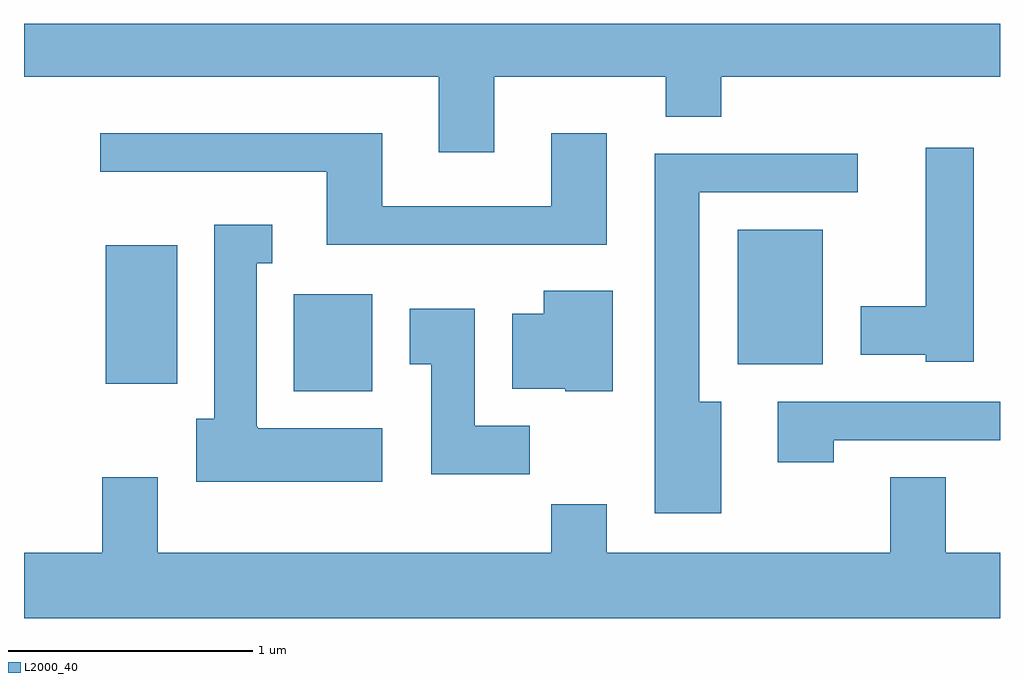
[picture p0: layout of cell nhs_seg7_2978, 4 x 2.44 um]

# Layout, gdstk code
import gdstk
lib = gdstk.Library(unit=1e-6, precision=1e-09)
def R(c, l, rs):  # rectangles x0, y0, x1, y1
    for r in rs: c.add(gdstk.rectangle(r[:2], r[2:], *l))
def P(c, l, *ps):  # polygons
    for p in ps: c.add(gdstk.Polygon(p, *l))
L2000_40 = (2000, 40)

nhs_seg7_2978 = lib.new_cell('nhs_seg7_2978')
R(nhs_seg7_2978, L2000_40, [(276.716,1770.746,277.039,1771.144), (275.946,1770.776,276.239,1771.344), (278.536,1770.856,278.884,1771.409)])
P(nhs_seg7_2978, L2000_40, [(277.539,1772.036),(278.241,1772.036),(278.241,1771.871),(278.469,1771.871),(278.469,1772.036),(279.611,1772.036),(279.611,1772.252),(275.611,1772.252),(275.611,1772.036),(277.311,1772.036),(277.311,1771.726),(277.539,1771.726)],
  [(277.999,1771.804),(277.771,1771.804),(277.771,1771.504),(277.079,1771.504),(277.079,1771.804),(275.923,1771.804),(275.923,1771.646),(276.851,1771.646),(276.851,1771.346),(277.999,1771.346)],
  [(279.504,1771.744),(279.306,1771.744),(279.306,1771.094),(279.041,1771.094),(279.041,1770.896),(279.306,1770.896),(279.306,1770.866),(279.504,1770.866)],
  [(278.469,1770.704),(278.379,1770.704),(278.379,1771.561),(279.028,1771.561),(279.028,1771.719),(278.196,1771.719),(278.196,1770.246),(278.469,1770.246)],
  [(277.079,1770.594),(276.57,1770.594),(276.57,1770.6),(276.564,1770.6),(276.564,1771.271),(276.628,1771.271),(276.628,1771.429),(276.391,1771.429),(276.391,1770.634),(276.316,1770.634),(276.316,1770.376),(277.079,1770.376)],
  [(278.024,1771.159),(277.741,1771.159),(277.741,1771.064),(277.611,1771.064),(277.611,1770.756),(277.83,1770.756),(277.83,1770.746),(278.024,1770.746)],
  [(277.684,1770.604),(277.459,1770.604),(277.459,1771.084),(277.191,1771.084),(277.191,1770.856),(277.281,1770.856),(277.281,1770.406),(277.684,1770.406)],
  [(278.929,1770.546),(279.611,1770.546),(279.611,1770.704),(278.701,1770.704),(278.701,1770.456),(278.929,1770.456)],
  [(279.611,1770.084),(279.389,1770.084),(279.389,1770.394),(279.161,1770.394),(279.161,1770.084),(277.999,1770.084),(277.999,1770.284),(277.771,1770.284),(277.771,1770.084),(276.159,1770.084),(276.159,1770.394),(275.931,1770.394),(275.931,1770.084),(275.611,1770.084),(275.611,1769.816),(279.611,1769.816)])

lib.write_gds('nhs_seg7_2978.gds')
